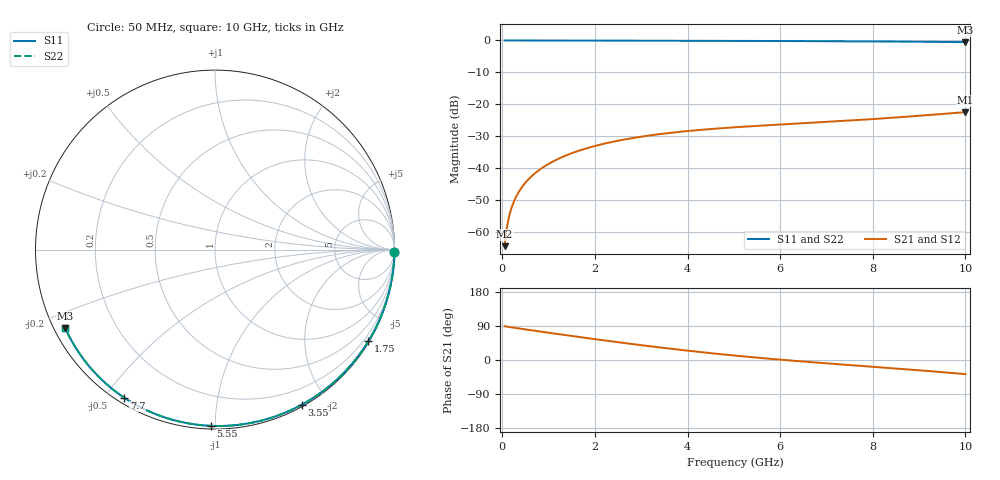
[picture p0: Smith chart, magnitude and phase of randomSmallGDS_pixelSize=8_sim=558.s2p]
! freq	dB(S11)	phase(S11)	dB(S12)	phase(S12)
!  dB(S21)	phase(S21)	dB(S22)	phase(S22)
!S-par simulation data
#  GHz  S  DB  R 50
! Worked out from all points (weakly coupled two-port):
!   200 points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, 50 MHz to 10 GHz, reference 50 ohm
!   highest |S21| = -22.45 dB at 10 GHz (marker M1); lowest = -64.4 dB at 50 MHz (marker M2)
!   lowest |S11| = -0.5 dB at 10 GHz (marker M3), VSWR 33.53, Z = 1.58 - j12.4 ohm
!   |S11| at or under -10 dB: nowhere
!   |S22| runs from -0.5 to 0.0 dB; largest |S21 - S12| = 0
!   S11 on the Smith chart (normalised r, x): 50 MHz: open; 1.75 GHz: 0.03, -3.62; 3.55 GHz: 0.02, -1.70; 5.55 GHz: 0.02, -0.98; 7.7 GHz: 0.02, -0.56; 10 GHz: 0.03, -0.25
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0.05  -0.00 -0.9  -64.43 89.0  -64.43 89.0  -0.00 -0.9
0.1  -0.00 -1.8  -58.42 88.0  -58.42 88.0  -0.00 -1.8
0.15  -0.00 -2.7  -54.91 87.1  -54.91 87.1  -0.00 -2.7
0.2  -0.00 -3.6  -52.42 86.1  -52.42 86.1  -0.00 -3.6
0.25  -0.00 -4.5  -50.49 85.2  -50.49 85.2  -0.00 -4.5
0.35  -0.00 -6.3  -47.60 83.3  -47.60 83.3  -0.00 -6.3
0.5  -0.01 -9.0  -44.54 80.7  -44.54 80.7  -0.01 -9.0
0.7  -0.01 -12.5  -41.67 77.2  -41.67 77.2  -0.01 -12.5
1  -0.02 -17.8  -38.66 72.0  -38.66 72.0  -0.02 -17.8
1.35  -0.03 -23.9  -36.17 65.9  -36.17 65.9  -0.03 -23.9
1.75  -0.04 -30.9  -34.09 59.2  -34.09 59.2  -0.04 -30.9
2.5  -0.06 -43.6  -31.40 46.9  -31.40 46.9  -0.06 -43.6
3.4  -0.08 -58.4  -29.33 33.1  -29.33 33.1  -0.08 -58.5
3.55  -0.09 -60.9  -29.07 31.0  -29.07 31.0  -0.09 -60.9
4.3  -0.11 -72.7  -27.98 20.7  -27.98 20.7  -0.11 -72.7
5.05  -0.13 -84.0  -27.17 11.3  -27.17 11.3  -0.13 -84.1
5.55  -0.16 -91.4  -26.72 5.7  -26.72 5.7  -0.16 -91.4
6.7  -0.22 -107.7  -25.78 -6.0  -25.78 -6.0  -0.22 -107.8
7.7  -0.28 -121.4  -24.91 -15.1  -24.91 -15.1  -0.28 -121.4
8.35  -0.34 -130.1  -24.28 -21.0  -24.28 -21.0  -0.34 -130.2
9.2  -0.42 -141.5  -23.37 -29.1  -23.37 -29.1  -0.42 -141.5
10  -0.52 -152.2  -22.45 -37.3  -22.45 -37.3  -0.52 -152.2
